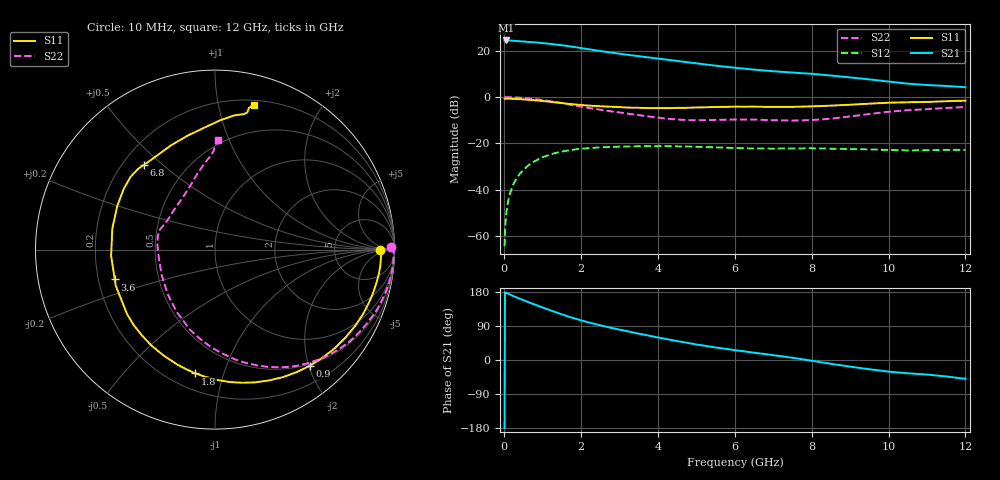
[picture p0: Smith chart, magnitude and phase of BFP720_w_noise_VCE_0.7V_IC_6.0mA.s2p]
! Infineon Technologies  Discrete & RF Semiconductors
! BFP720
! VCE =  0.7 V,  IC =  6.0 mA
! Common Emitter S-Parameters:  Aug 2012
# GHz  S  MA  R  50
!  f  S11  S21  S12  S22
! GHz  MAG  ANG  MAG  ANG  MAG  ANG  MAG  ANG
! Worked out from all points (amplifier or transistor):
!   105 points, 10 MHz to 12 GHz, reference 50 ohm
!   highest |S21| = 24.5 dB at 50 MHz (marker M1)
!   |S21| within 3 dB of that: start of sweep to 1.888 GHz
!   unconditionally stable (mu >= 1): start of sweep to 10.99 MHz; 6.592 GHz to end of sweep
!   at 300 MHz: K = 0.05, MSG = 30.0 dB, |S12| = -35.7 dB
!   at 3.6 GHz: K = 0.52, MSG = 19.4 dB, |S12| = -21.3 dB
!   at 12 GHz: K = 1.03, MAG = 12.4 dB, |S12| = -22.9 dB
!   lowest NFmin = 0.43 dB at 450 MHz
!   S11 on the Smith chart (normalised r, x): 10 MHz: 24, +0; 900 MHz: 0.47, -2.02; 1.8 GHz: 0.30, -0.81; 3.6 GHz: 0.27, -0.14; 6.8 GHz: 0.29, +0.43; 12 GHz: 0.24, +1.28
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0.01  0.9213 0.0  16.47 -179.6  0.0006 5.9  0.9812 0.8
0.02  0.9276 -1.1  16.47 178.9  0.0012 86.8  0.9959 -0.8
0.05  0.9256 -2.9  16.72 177.4  0.0028 85.7  0.9953 -2.1
0.25  0.9147 -14.2  16.44 168.2  0.0136 81.9  0.9869 -10.9
0.45  0.8955 -25.3  15.98 159.8  0.0243 74.7  0.9649 -19.6
0.7  0.8644 -39.4  15.39 149.9  0.0367 66.3  0.9248 -30.3
0.9  0.8356 -50.8  14.96 142.3  0.0457 59.8  0.8857 -38.8
1.3  0.7733 -73.0  13.78 127.5  0.0607 47.4  0.7905 -55.1
1.6  0.7256 -89.3  12.87 116.9  0.0689 39.2  0.7139 -66.1
1.8  0.6985 -99.0  12.15 110.5  0.073 34.2  0.6656 -73.1
2.1  0.6637 -111.9  11.11 101.9  0.0775 27.7  0.6013 -82.5
2.4  0.6413 -123.5  10.17 94.0  0.0809 21.9  0.5487 -91.5
2.8  0.6178 -137.4  9.119 84.4  0.0839 15.5  0.4905 -102.3
3.6  0.5828 -163.4  7.461 67.5  0.0865 4.7  0.3969 -124.2
4.1  0.5775 -179.6  6.632 57.5  0.0867 -1.1  0.3524 -140.2
5  0.5965 155.9  5.357 40.8  0.0843 -10.0  0.3163 -172.3
6.1  0.6205 138.1  4.222 24.7  0.0791 -16.7  0.3272 165.1
6.8  0.6163 130.0  3.733 15.4  0.077 -18.7  0.3199 156.5
8.5  0.6532 103.4  2.919 -10.1  0.0766 -27.0  0.341 122.0
9.5  0.7205 87.8  2.409 -24.4  0.074 -30.9  0.4311 103.5
10.5  0.772 78.0  1.949 -35.1  0.0704 -33.0  0.5198 93.0
12  0.8367 74.9  1.631 -49.7  0.072 -37.2  0.6109 88.3
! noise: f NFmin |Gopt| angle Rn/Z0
0.45  0.43  0.44  3  0.13
1.8  0.51  0.42  24  0.13
2.4  0.55  0.3  55  0.23
5.5  0.69  0.2  58  0.14
10  0.95  0.39  -89  0.21
